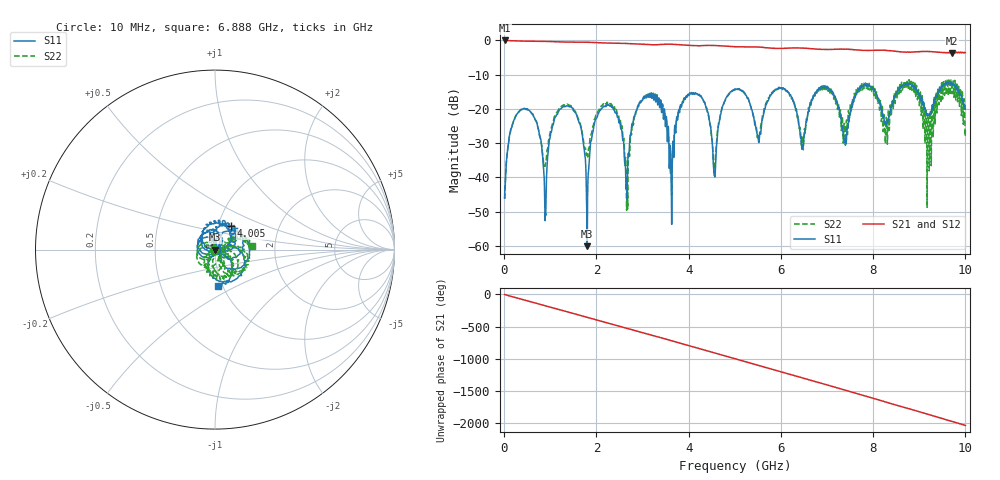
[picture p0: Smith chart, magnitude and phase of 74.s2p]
!Keysight Technologies,E5080B,MY59205177,A.15.75.32
!Date: Friday, February 23, 2024 03:32:55
!Correction: S11(Cdelta 2-Port  )
!S21(Cdelta 2-Port  )
!S12(Cdelta 2-Port  )
!S22(Cdelta 2-Port  )
!S2P File: Measurements: S11, S21, S12, S22:
# Hz S  dB  R 50
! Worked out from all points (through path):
!   10001 points, 10 MHz to 10 GHz, reference 50 ohm
!   highest |S21| = -0.01 dB at 14 MHz (marker M1); lowest = -3.7 dB at 9.701 GHz (marker M2)
!   group delay of S21, straight-line fit = 565 ps
!   lowest |S11| = -60.1 dB at 1.801 GHz (marker M3), VSWR 1.00, Z = 50 - j0.0988 ohm
!   |S11| at or under -10 dB: start of sweep to end of sweep
!   |S22| runs from -49.6 to -11.2 dB; largest |S21 - S12| = 0.0015
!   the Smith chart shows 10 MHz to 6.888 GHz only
!   S11 on the Smith chart (normalised r, x): 10 MHz: 1.01, -0.00; 4.005 GHz: 1.15, +0.31; 6.888 GHz: 0.94, -0.41
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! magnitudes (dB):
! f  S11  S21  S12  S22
! 10 MHz  -46.1  0.0  0.0  -46.0
! 14 MHz  -43.3  0.0  0.0  -45.5
! 374.6 MHz  -20.2  -0.2  -0.2  -20.1
! 888.1 MHz  -52.1  -0.3  -0.3  -36.5
! 1.18 GHz  -20.7  -0.4  -0.4  -20.2
! 1.675 GHz  -26.1  -0.5  -0.5  -25.5
! 1.801 GHz  -60.1  -0.5  -0.5  -33.0
! 2.109 GHz  -19.9  -0.7  -0.7  -19.0
! 2.662 GHz  -46.2  -0.9  -0.9  -43.9
! 3.341 GHz  -17.5  -1.2  -1.2  -17.7
! 3.627 GHz  -46.9  -1.1  -1.1  -42.2
! 4.005 GHz  -16.1  -1.4  -1.4  -15.8
! 4.561 GHz  -39.5  -1.5  -1.5  -38.5
! 5.005 GHz  -14.2  -1.9  -1.8  -14.5
! 5.517 GHz  -29.6  -1.9  -1.9  -28.5
! 6.67 GHz  -17.3  -2.4  -2.4  -16.9
! 6.888 GHz  -13.7  -2.6  -2.6  -13.7
! 7.384 GHz  -29.6  -2.6  -2.6  -25.8
! 7.796 GHz  -13.1  -2.9  -2.9  -12.9
! 8.336 GHz  -22.7  -3.0  -3.0  -20.9
! 9.701 GHz  -12.2  -3.7  -3.7  -13.8
! 10 GHz  -20.1  -3.6  -3.6  -25.6
